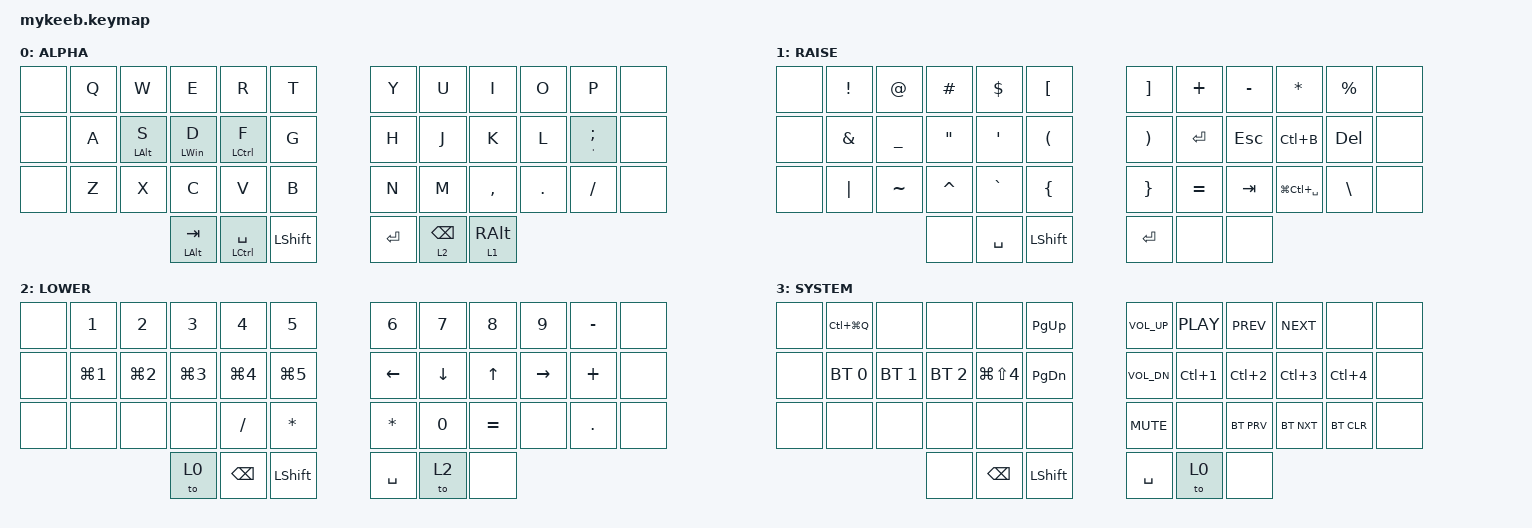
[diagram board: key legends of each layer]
#include <behaviors.dtsi>
#include <dt-bindings/zmk/bt.h>
#include <dt-bindings/zmk/keys.h>

#define L0 0
#define L1 1
#define L2 2
#define L3 3
#define KEYS_L 0 1 2 3 4 5 12 13 14 15 16 17 24 25 26 27 28 29 36 37 38
#define KEYS_R 6 7 8 9 10 11 18 19 20 21 22 23 30 31 32 33 34 35 39 40 41

/ {
    behaviors {
        /**
     * Left hand positional hold tap, used for home block modifiers
     */

        lhr: left_hand_positional_hold_tap {
            compatible = "zmk,behavior-hold-tap";
            label = "LEFT_POSITIONAL_HOLD_TAP";
            #binding-cells = <2>;
            flavor = "balanced";
            tapping-term-ms = <300>;
            quick-tap-ms = <200>;
            global-quick-tap;
            bindings = <&kp>, <&kp>;

            hold-trigger-key-positions = <KEYS_R>;
            hold-trigger-on-release;
        };

        /**
     * Right hand positional hold tap, used for home block modifiers
     */

        rhr: right_hand_positional_hold_tap {
            compatible = "zmk,behavior-hold-tap";
            label = "RIGHT_POSITIONAL_HOLD_TAP";
            #binding-cells = <2>;
            flavor = "balanced";
            tapping-term-ms = <300>;
            quick-tap-ms = <200>;
            global-quick-tap;
            bindings = <&kp>, <&kp>;

            hold-trigger-key-positions = <KEYS_L>;
            hold-trigger-on-release;
        };
    };

    combos {
        compatible = "zmk,combos";

        esc {
            bindings = <&kp ESCAPE>;
            key-positions = <19 20>;
        };

        layer3 {
            bindings = <&mo 3>;
            key-positions = <26 27>;
        };
    };

    keymap {
        compatible = "zmk,keymap";

        /**
     * Alpha layer (L0)
     */

        layer_0 {
            label = "ALPHA";
            bindings = <
&none  &kp Q  &kp W        &kp E              &kp R                &kp T        &kp Y      &kp U            &kp I            &kp O    &kp P         &none
&none  &kp A  &lhr LALT S  &lhr LEFT_WIN D    &lhr LEFT_CONTROL F  &kp G        &kp H      &kp J            &kp K            &kp L    &mt SQT SEMI  &none
&none  &kp Z  &kp X        &kp C              &kp V                &kp B        &kp N      &kp M            &kp COMMA        &kp DOT  &kp SLASH     &none
                           &lhr LEFT_ALT TAB  &lhr LCTRL SPACE     &kp LSHFT    &kp ENTER  &lt 2 BACKSPACE  &lt 1 RIGHT_ALT
            >;
        };

        /**
     * Symbols layer (L1)
     */

        layer_1 {
            label = "RAISE";
            bindings = <
&none  &kp EXCL  &kp AT     &kp HASH   &kp DOLLAR  &kp LBKT     &kp RBKT   &kp PLUS   &kp MINUS  &kp ASTRK          &kp PRCNT  &none
&none  &kp AMPS  &kp UNDER  &kp DQT    &kp SQT     &kp LPAR     &kp RPAR   &kp ENTER  &kp ESC    &kp LC(B)          &kp DEL    &none
&none  &kp PIPE  &kp TILDE  &kp CARET  &kp GRAVE   &kp LBRC     &kp RBRC   &kp EQUAL  &kp TAB    &kp LG(LC(SPACE))  &kp BSLH   &none
                            &none      &kp SPACE   &kp LSHFT    &kp ENTER  &none      &none
            >;
        };

        /**
     * Number and directions layer (L2)
     */

        layer_2 {
            label = "LOWER";
            bindings = <
&none  &kp NUMBER_1  &kp NUMBER_2  &kp NUMBER_3  &kp NUMBER_4  &kp N5          &kp NUMBER_6    &kp N7          &kp N8        &kp N9     &kp MINUS  &none
&none  &kp LG(N1)    &kp LG(N2)    &kp LG(N3)    &kp LG(N4)    &kp LG(N5)      &kp LEFT_ARROW  &kp DOWN_ARROW  &kp UP_ARROW  &kp RIGHT  &kp PLUS   &none
&none  &none         &none         &none         &kp SLASH     &kp ASTERISK    &kp ASTERISK    &kp NUMBER_0    &kp EQUAL     &none      &kp DOT    &none
                                   &to 0         &kp BSPC      &kp LSHFT       &kp SPACE       &to 2           &none
            >;
        };

        /**
     * Controls layer that contains OS controls (bluetooth, mute, play, etc.) (L3)
     */

        layer_3 {
            label = "SYSTEM";
            bindings = <
&none  &kp LC(LG(Q))  &none         &none         &none           &kp PG_UP    &kp C_VOL_UP  &kp C_PLAY  &kp C_PREV  &kp C_NEXT  &none       &none
&none  &bt BT_SEL 0   &bt BT_SEL 1  &bt BT_SEL 2  &kp LG(LS(N4))  &kp PG_DN    &kp C_VOL_DN  &kp LC(N1)  &kp LC(N2)  &kp LC(N3)  &kp LC(N4)  &none
&none  &none          &none         &none         &none           &none        &kp C_MUTE    &none       &bt BT_PRV  &bt BT_NXT  &bt BT_CLR  &none
                                    &none         &kp BSPC        &kp LSHFT    &kp SPACE     &to 0       &none
            >;
        };
    };
};
